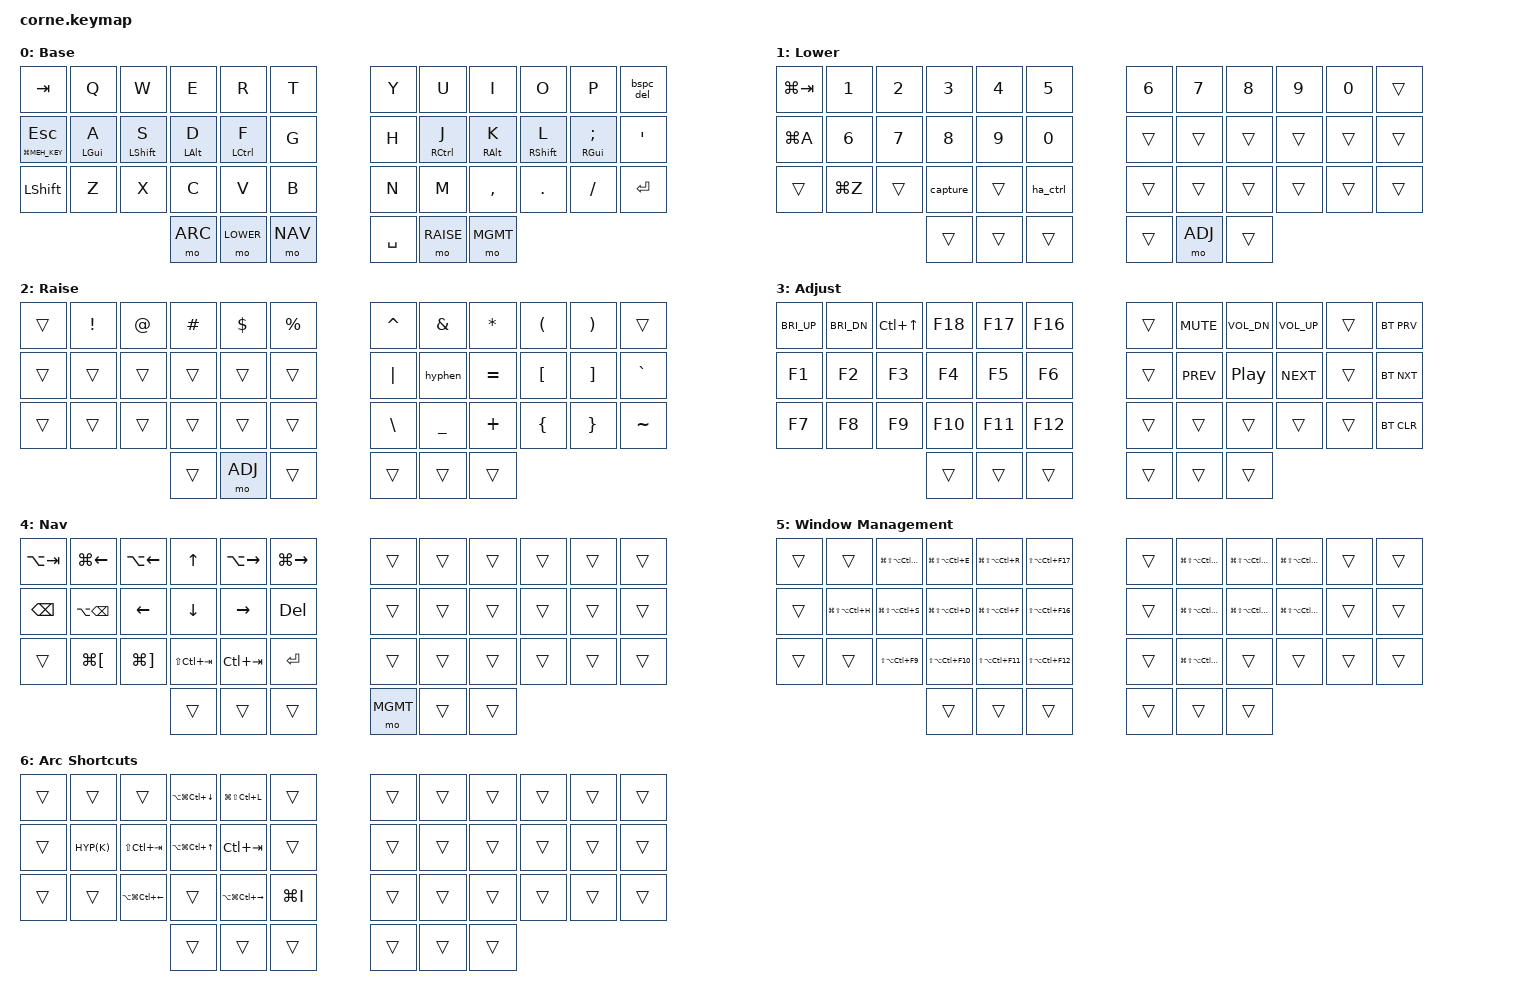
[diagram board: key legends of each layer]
/*
 *
 * Layout by Matt Galligan (https://github.com/galligan)
 * Name: Chococorne
 * Version: 1.1.0
 *
 */

#include <behaviors.dtsi>
#include <dt-bindings/zmk/keys.h>
#include <dt-bindings/zmk/bt.h>

/*                                      42 KEY MATRIX / LAYOUT MAPPING

  ╭────────────────────────┬────────────────────────╮ ╭─────────────────────────┬─────────────────────────╮
  │  0   1   2   3   4   5 │  6   7   8   9  10  11 │ │ LT5 LT4 LT3 LT2 LT1 LT0 │ RT0 RT1 RT2 RT3 RT4 RT5 │
  │ 12  13  14  15  16  17 │ 18  19  20  21  22  23 │ │ LM5 LM4 LM3 LM2 LM1 LM0 │ RM0 RM1 RM2 RM3 RM4 RM5 │
  │ 24  25  26  27  28  29 │ 30  31  32  33  34  35 │ │ LB5 LB4 LB3 LB2 LB1 LB0 │ RB0 RB1 RB2 RB3 RB4 RB5 │
  ╰───────────╮ 36  37  38 │ 39  40  41 ╭───────────╯ ╰───────────╮ LH2 LH1 LH0 │ RH0 RH1 RH2 ╭───────────╯
              ╰────────────┴────────────╯                         ╰─────────────┴─────────────╯             */

// left-top row
#define LT0  5
#define LT1  4
#define LT2  3
#define LT3  2
#define LT4  1
#define LT5  0

// right-top row
#define RT0  6 
#define RT1  7
#define RT2  8
#define RT3  9
#define RT4 10
#define RT5 11

// left-middle row
#define LM0 17
#define LM1 16
#define LM2 15
#define LM3 14
#define LM4 13
#define LM5 12

// right-middle row
#define RM0 18
#define RM1 19
#define RM2 20
#define RM3 21
#define RM4 22
#define RM5 23

// left-bottom row
#define LB0 29
#define LB1 28
#define LB2 27
#define LB3 26
#define LB4 25
#define LB5 24

// right-bottom row
#define RB0 30
#define RB1 31
#define RB2 32
#define RB3 33
#define RB4 34
#define RB5 35

// left thumb keys
#define LH0 38
#define LH1 37
#define LH2 36

// right thumb keys
#define RH0 39
#define RH1 40
#define RH2 41

#define BASE 0
#define LOWER 1
#define RAISE 2
#define ADJ 3
#define NAV 4
#define MGMT 5
#define ARC 6

#define ___ &trans
#define XXX &none

/*
   Custom Key Codes
*/

// Key Combospp
#define MEH_KEY  LS(LA(LCTRL))
#define MEH(key) (LS(LA(LC(key))))
#define HYPER    LG(MEH_KEY)
#define HYP(key) (LG(LS(LA(LC(key)))))

// Editing
#define BSPC_W LA(BSPC)

// Tab Navigation
#define T_NEXT LC(TAB)
#define T_PREV LS(LC(TAB))

// History Navigation
#define H_NEXT LG(RBKT)
#define H_PREV LG(LBKT)

// App Navigation
#define A_PREV LG(TAB)
#define A_FULL LA(TAB)

// Window Management
#define WM_MCTRL LC(UP)
#define WM_STAGE LG(LS(LA(LC(M))))
#define WM_FOCUS LG(LS(LA(LC(H))))
#define WM_WIN_L LG(LS(LA(LC(W))))
#define WM_WIN_R LG(LS(LA(LC(R))))
#define WM_WIN_X LG(LS(LA(LC(E))))
#define WM_WIN_H LG(LS(LA(LC(D))))
#define WM_SN_L  LG(LS(LA(LC(S))))
#define WM_SN_R  LG(LS(LA(LC(F))))
#define WM_ST_L  LS(LA(LC(F9)))
#define WM_ST_D  LS(LA(LC(F10)))
#define WM_ST_R  LS(LA(LC(F11)))
#define WM_ST_UN LS(LA(LC(F12)))
#define WM_3RD   LS(LA(LC(F16)))
#define WM_4TH   LS(LA(LC(F17)))
#define WM_GROW  LG(LS(LA(LC(F11)))) 
#define WM_SHRK  LG(LS(LA(LC(F12))))
#define WM_NG_L  LG(LS(LA(LC(F16))))
#define WM_NG_R  LG(LS(LA(LC(F17))))
#define WM_NG_U  LG(LS(LA(LC(F18))))
#define WM_NG_D  LG(LS(LA(LC(F19))))

// Arc
#define C_TAB_D  LA(LG(LC(UP)))
#define C_TAB_U  LA(LG(LC(DOWN)))
#define C_TAB_PR LS(LC(TAB))
#define C_TAB_NX LC(TAB)
#define C_SPC_L  LA(LG(LC(LEFT)))
#define C_SPC_R  LA(LG(LC(RIGHT)))
#define C_LIB    LG(LS(LC(L)))
#define C_LIL    HYP(K)
#define C_DEV    LG(I)

// MacOS
#define MAC_DND  F16
#define MAC_DICT F17
#define MAC_SPOT F18

// MISC
#define SEL_ALL  LG(A)
#define UNDO_KEY LG(Z)

// Homerow Mods
/ {
  behaviors {
    // hm: home_row_mods {
    //   compatible = "zmk,behavior-hold-tap";
    //   label = "HOME_ROW_MODS";
    //   #binding-cells = <2>;
    //   flavor = "balanced";
    //   tapping-term-ms = <280>;
    //   quick-tap-ms = <125>;
    //   global-quick-tap;
    //   bindings = <&kp>, <&kp>;
    // };
    
    hm: home_row_mods {
      compatible = "zmk,behavior-hold-tap";
      label = "HOME_ROW_MODS";
      #binding-cells = <2>;
      flavor = "tap-preferred";
      tapping-term-ms = <280>;
      quick-tap-ms = <0>;
      global-quick-tap;
      bindings = <&kp>, <&kp>;
    };
    bspc_del: backspace_delete {
      compatible = "zmk,behavior-mod-morph";
      label = "BACKSPACE_DELETE";
      #binding-cells = <0>;
      bindings = <&kp BACKSPACE>, <&kp DELETE>;
      mods = <(MOD_LSFT|MOD_RSFT)>;
      keep-mods = <(MOD_RSFT)>;
    };
    hyphen: hyphen_tap_dance {
      compatible = "zmk,behavior-tap-dance";
      label = "HYPHEN_TAP_DANCE";
      #binding-cells = <0>;
      tapping-term-ms = <200>;
      bindings = <&kp MINUS>, <&kp LA(MINUS)>, <&kp LS(LA(MINUS))>;
    };
    capture: cleanshot_capture {
      compatible = "zmk,behavior-tap-dance";
      label = "CLEANSHOT_CAPTURE";
      #binding-cells = <0>;
      tapping-term-ms = <200>;
      bindings = <&kp LG(LS(N4))>, <&kp LG(LS(N3))>, <&kp LG(LS(N6))>;
    };
    ha_ctrl: home_assistant_control {
      compatible = "zmk,behavior-tap-dance";
      label = "HOME_ASSISTANT_CONTROL";
      #binding-cells = <0>;
      tapping-term-ms = <200>;
      bindings = <&kp MEH(B)>, <&kp MEH(C)>, <&kp MEH(X)>;
    };
  };
};

// Combos
/ {
  combos {
    compatible = "zmk,combos";
    combo_copy {
      timeout-ms = <40>;
      key-positions = <LB2 LB3>;
      bindings = <&kp LG(C)>;
    };
    combo_cut {
      timeout-ms = <40>;
      key-positions = <LB2 LB3 LB4>;
      bindings = <&kp LG(X)>;
    };
    combo_paste {
      timeout-ms = <40>;
      key-positions = <LB1 LB2>;
      bindings = <&kp LG(V)>;
    };
    combo_copy_plus {
      timeout-ms = <40>;
      key-positions = <LB2 LB4>;
      bindings = <&kp LS(LG(C))>;
    };
    combo_paste_plus {
      timeout-ms = <40>;
      key-positions = <LB1 LB4>;
      bindings = <&kp LS(LG(V))>;
    };
    combo_undo {
      timeout-ms = <40>;
      key-positions = <LB3 LB4>;
      bindings = <&kp LG(Z)>;
    };
    combo_redo {
      timeout-ms = <40>;
      key-positions = <LB4 LB5>;
      bindings = <&kp LS(LG(Z))>;
    };
    combo_quit {
      timeout-ms = <40>;
      key-positions = <LT3 LT4>;
      bindings = <&kp LS(LG(Z))>;
    };
    combo_raycast {
      timeout-ms = <40>;
      key-positions = <RM1 RM2>;
      bindings = <&kp LG(SPACE)>;
    };
    combo_raycast_ai {
      timeout-ms = <40>;
      key-positions = <RM1 RM2 RM3>;
      bindings = <&kp LS(LA(LG(SPACE)))>;
    };
    combo_cal {
      timeout-ms = <40>;
      key-positions = <LM0 LM1>;
      bindings = <&kp LA(SPACE)>;
    };
    combo_cap_screen {
      timeout-ms = <40>;
      key-positions = <LM1 LM2>;
      bindings = <&kp LS(LG(N4))>;
    };
    combo_cap_all_in_one {
      timeout-ms = <40>;
      key-positions = <LM1 LM2 LM3>;
      bindings = <&kp LS(LG(N3))>;
    };
    combo_cap_vid {
      timeout-ms = <40>;
      key-positions = <LM1 LM3>;
      bindings = <&kp LS(LG(N7))>;
    };
  };
};

/ {
  keymap {
    compatible = "zmk,keymap";

    default_layer {
      label = "Base";
      bindings = <
        // ╭─DEFAULT─────┬─────────────┬─────────────┬─────────────┬─────────────┬─────────────╮   ╭─────────────┬─────────────┬─────────────┬─────────────┬─────────────┬─────────────╮
             &kp TAB       &kp Q         &kp W         &kp E         &kp R         &kp T             &kp Y         &kp U         &kp I         &kp O         &kp P         &bspc_del
             &mt HYPER ESC &hm LGUI A    &hm LSHFT S   &hm LALT D    &hm LCTRL F   &kp G             &kp H         &hm RCTRL J   &hm RALT K    &hm RSHFT L   &hm RGUI SEMI &kp SQT
             &kp LSHFT     &kp Z         &kp X         &kp C         &kp V         &kp B             &kp N         &kp M         &kp COMMA     &kp DOT       &kp FSLH      &kp RET
        // ╰─────────────┴─────────────┴─────────────╮                                                                                       ╭─────────────┴─────────────┴─────────────╯
                                                       &mo ARC      &mo LOWER     &mo NAV           &kp SPC       &mo RAISE     &mo MGMT
        //                                           ╰─────────────┴─────────────┴─────────────╯   ╰─────────────┴─────────────┴─────────────╯
      >;
    };
    lower_layer {
      label = "Lower";
      bindings = <
        // ╭─LOWER───────┬─────────────┬─────────────┬─────────────┬─────────────┬─────────────╮   ╭─────────────┬─────────────┬─────────────┬─────────────┬─────────────┬─────────────╮
             &kp A_PREV    &kp N1        &kp N2        &kp N3        &kp N4        &kp N5            &kp N6        &kp N7        &kp N8        &kp N9        &kp N0        ___
             &kp SEL_ALL   &kp N6        &kp N7        &kp N8        &kp N9        &kp N0            ___           ___           ___           ___           ___           ___           
             ___           &kp UNDO_KEY  ___           &capture      ___           &ha_ctrl          ___           ___           ___           ___           ___           ___           
        // ╰─────────────┴─────────────┴─────────────╮                                                                                       ╭─────────────┴─────────────┴─────────────╯
                                                       ___           ___           ___               ___           &mo ADJ    ___
        //                                           ╰─────────────┴─────────────┴─────────────╯   ╰─────────────┴─────────────┴─────────────╯
      >;
    };
    raise_layer {
      label = "Raise";
      bindings = <
        // ╭─RAISE───────┬─────────────┬─────────────┬─────────────┬─────────────┬─────────────╮   ╭─────────────┬─────────────┬─────────────┬─────────────┬─────────────┬─────────────╮
             ___           &kp EXCL      &kp AT        &kp HASH      &kp DLLR      &kp PRCNT         &kp CARET     &kp AMPS      &kp ASTRK     &kp LPAR      &kp RPAR      ___
             ___           ___           ___           ___           ___           ___               &kp PIPE      &hyphen       &kp EQUAL     &kp LBKT      &kp RBKT      &kp GRAVE
             ___           ___           ___           ___           ___           ___               &kp BSLH      &kp UNDER     &kp PLUS      &kp LBRC      &kp RBRC      &kp TILDE
        // ╰─────────────┴─────────────┴─────────────╮                                                                                       ╭─────────────┴─────────────┴─────────────╯
                                                       ___           &mo ADJ    ___               ___           ___           ___
        //                                           ╰─────────────┴─────────────┴─────────────╯   ╰─────────────┴─────────────┴─────────────╯
      >;
    };
    adjust_layer {
      label = "Adjust";
      bindings = <
        // ╭─ADJUST──────┬─────────────┬─────────────┬─────────────┬─────────────┬─────────────╮   ╭─────────────┬─────────────┬─────────────┬─────────────┬─────────────┬─────────────╮
             &kp C_BRI_UP  &kp C_BRI_DN  &kp WM_MCTRL  &kp MAC_SPOT  &kp MAC_DICT  &kp MAC_DND       ___           &kp C_MUTE    &kp C_VOL_DN  &kp C_VOL_UP  ___           &bt BT_PRV
             &kp F1        &kp F2        &kp F3        &kp F4        &kp F5        &kp F6            ___           &kp C_PREV    &kp C_PP      &kp C_NEXT    ___           &bt BT_NXT
             &kp F7        &kp F8        &kp F9        &kp F10       &kp F11       &kp F12           ___           ___           ___           ___           ___           &bt BT_CLR
        // ╰─────────────┴─────────────┴─────────────╮                                                                                       ╭─────────────┴─────────────┴─────────────╯
                                                       ___           ___           ___               ___           ___           ___
        //                                           ╰─────────────┴─────────────┴─────────────╯   ╰─────────────┴─────────────┴─────────────╯
      >;
    };
    nav_layer {
      label = "Nav";
      bindings = <
        // ╭─NAV─────────┬─────────────┬─────────────┬─────────────┬─────────────┬─────────────╮   ╭─────────────┬─────────────┬─────────────┬─────────────┬─────────────┬─────────────╮
             &kp LA(TAB)   &kp LG(LEFT) &kp LA(LEFT)   &kp UP        &kp LA(RIGHT) &kp LG(RIGHT)      ___           ___           ___           ___           ___           ___
             &kp BSPC      &kp BSPC_W   &kp LEFT       &kp DOWN      &kp RIGHT     &kp DELETE         ___           ___           ___           ___           ___           ___
            ___            &kp H_PREV   &kp H_NEXT     &kp T_PREV    &kp T_NEXT    &kp RET            ___           ___           ___           ___           ___           ___
        // ╰─────────────┴─────────────┴─────────────╮                                                                                       ╭─────────────┴─────────────┴─────────────╯
                                                       ___           ___           ___               &mo MGMT      ___           ___
        //                                           ╰─────────────┴─────────────┴─────────────╯   ╰─────────────┴─────────────┴─────────────╯
      >;
    };
    mgmt_layer {
      label = "Window Management";
      bindings = <
        // ╭─MGMT────────┬─────────────┬─────────────┬─────────────┬─────────────┬─────────────╮   ╭─────────────┬─────────────┬─────────────┬─────────────┬─────────────┬─────────────╮
             ___           ___           &kp WM_WIN_L  &kp WM_WIN_X  &kp WM_WIN_R  &kp WM_4TH        ___           &kp WM_SHRK   &kp WM_NG_U   &kp WM_GROW   ___           ___
             ___           &kp WM_FOCUS  &kp WM_SN_L   &kp WM_WIN_H  &kp WM_SN_R   &kp WM_3RD        ___           &kp WM_NG_L   &kp WM_NG_D   &kp WM_NG_R   ___           ___
             ___           ___           &kp WM_ST_L   &kp WM_ST_D   &kp WM_ST_R   &kp WM_ST_UN      ___           &kp WM_STAGE  ___           ___           ___           ___
        // ╰─────────────┴─────────────┴─────────────╮                                                                                       ╭─────────────┴─────────────┴─────────────╯
                                                       ___           ___           ___               ___           ___           ___
        //                                           ╰─────────────┴─────────────┴─────────────╯   ╰─────────────┴─────────────┴─────────────╯
      >;
    };
    arc_layer {
      label = "Arc Shortcuts";
      bindings = <
        // ╭─MGMT────────┬─────────────┬─────────────┬─────────────┬─────────────┬─────────────╮   ╭─────────────┬─────────────┬─────────────┬─────────────┬─────────────┬─────────────╮
             ___           ___           ___           &kp C_TAB_U   &kp C_LIB     ___               ___           ___           ___           ___           ___           ___
             ___           &kp C_LIL     &kp C_TAB_PR  &kp C_TAB_D   &kp C_TAB_NX  ___               ___           ___           ___           ___           ___           ___
             ___           ___           &kp C_SPC_L   ___           &kp C_SPC_R   &kp C_DEV         ___           ___           ___           ___           ___           ___
        // ╰─────────────┴─────────────┴─────────────╮                                                                                       ╭─────────────┴─────────────┴─────────────╯
                                                       ___           ___           ___               ___           ___           ___
        //                                           ╰─────────────┴─────────────┴─────────────╯   ╰─────────────┴─────────────┴─────────────╯
      >;
    };
  };
};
